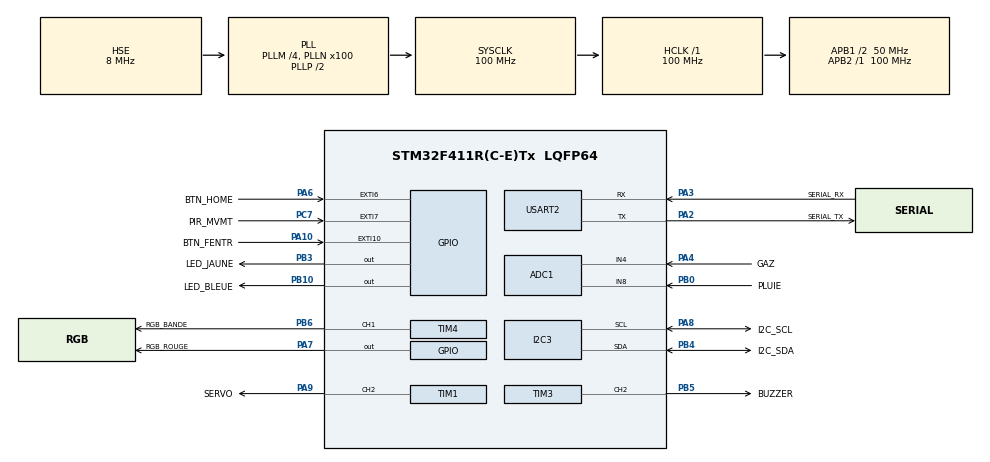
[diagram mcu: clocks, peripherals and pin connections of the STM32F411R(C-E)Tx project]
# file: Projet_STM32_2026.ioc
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ADC1.Channel-0\#ChannelRegularConversion=ADC_CHANNEL_4
ADC1.Channel-1\#ChannelRegularConversion=ADC_CHANNEL_8
ADC1.DMAContinuousRequests=ENABLE
ADC1.ExternalTrigConv=ADC_EXTERNALTRIGCONV_T2_TRGO
ADC1.NbrOfConversion=2
ADC1.NbrOfConversionFlag=1
ADC1.Rank-0\#ChannelRegularConversion=1
ADC1.Rank-1\#ChannelRegularConversion=2
ADC1.SamplingTime-0\#ChannelRegularConversion=ADC_SAMPLETIME_3CYCLES
ADC1.SamplingTime-1\#ChannelRegularConversion=ADC_SAMPLETIME_3CYCLES
ADC1.ScanConvMode=ENABLE
ADC1.master=1
Dma.ADC1.0.Direction=DMA_PERIPH_TO_MEMORY
Dma.ADC1.0.FIFOMode=DMA_FIFOMODE_DISABLE
Dma.ADC1.0.Instance=DMA2_Stream0
Dma.ADC1.0.MemDataAlignment=DMA_MDATAALIGN_HALFWORD
Dma.ADC1.0.MemInc=DMA_MINC_ENABLE
Dma.ADC1.0.Mode=DMA_CIRCULAR
Dma.ADC1.0.PeriphDataAlignment=DMA_PDATAALIGN_HALFWORD
Dma.ADC1.0.PeriphInc=DMA_PINC_DISABLE
Dma.ADC1.0.Priority=DMA_PRIORITY_LOW
Dma.Request0=ADC1
Dma.Request1=TIM4_CH1
Dma.TIM4_CH1.1.Direction=DMA_MEMORY_TO_PERIPH
Dma.TIM4_CH1.1.FIFOMode=DMA_FIFOMODE_DISABLE
Dma.TIM4_CH1.1.Instance=DMA1_Stream0
Dma.TIM4_CH1.1.MemDataAlignment=DMA_MDATAALIGN_WORD
Dma.TIM4_CH1.1.MemInc=DMA_MINC_ENABLE
Dma.TIM4_CH1.1.Mode=DMA_NORMAL
Dma.TIM4_CH1.1.PeriphDataAlignment=DMA_PDATAALIGN_WORD
Dma.TIM4_CH1.1.PeriphInc=DMA_PINC_DISABLE
Dma.TIM4_CH1.1.Priority=DMA_PRIORITY_LOW
Mcu.Family=STM32F4
Mcu.Name=STM32F411R(C-E)Tx
Mcu.Package=LQFP64
NVIC.ADC_IRQn=true\:0\:0\:false\:false\:true\:true\:true\:true
NVIC.DMA1_Stream0_IRQn=true\:0\:0\:false\:false\:true\:false\:true\:true
NVIC.DMA2_Stream0_IRQn=true\:0\:0\:false\:false\:true\:false\:true\:true
NVIC.EXTI15_10_IRQn=true\:0\:0\:false\:false\:true\:true\:true\:true
NVIC.EXTI9_5_IRQn=true\:0\:0\:false\:false\:true\:true\:true\:true
NVIC.PriorityGroup=NVIC_PRIORITYGROUP_4
NVIC.TIM2_IRQn=true\:0\:0\:false\:false\:true\:true\:true\:true
NVIC.TIM5_IRQn=true\:0\:0\:false\:false\:true\:true\:true\:true
PA10.GPIO_Label=BTN_FENTR
PA10.GPIO_ModeDefaultEXTI=GPIO_MODE_IT_FALLING
PA10.GPIO_PuPd=GPIO_PULLUP
PA10.Signal=GPXTI10
PA13.Mode=Serial_Wire
PA13.Signal=SYS_JTMS-SWDIO
PA14.Mode=Serial_Wire
PA14.Signal=SYS_JTCK-SWCLK
PA2.GPIO_Label=SERIAL_TX
PA2.Mode=Asynchronous
PA2.Signal=USART2_TX
PA3.GPIO_Label=SERIAL_RX
PA3.Mode=Asynchronous
PA3.Signal=USART2_RX
PA4.GPIO_Label=GAZ
PA4.Signal=ADCx_IN4
PA6.GPIO_Label=BTN_HOME
PA6.GPIO_ModeDefaultEXTI=GPIO_MODE_IT_FALLING
PA6.GPIO_PuPd=GPIO_PULLUP
PA6.Signal=GPXTI6
PA7.GPIO_Label=RGB_ROUGE
PA7.GPIO_PuPd=GPIO_NOPULL
PA7.Signal=GPIO_Output
PA8.GPIO_Label=I2C_SCL
PA8.Mode=I2C
PA8.Signal=I2C3_SCL
PA9.GPIO_Label=SERVO
PA9.Signal=S_TIM1_CH2
PB0.GPIO_Label=PLUIE
PB0.Signal=ADCx_IN8
PB10.GPIO_Label=LED_BLEUE
PB10.Signal=GPIO_Output
PB3.GPIO_Label=LED_JAUNE
PB3.GPIO_PuPd=GPIO_NOPULL
PB3.Signal=GPIO_Output
PB4.GPIO_Label=I2C_SDA
PB4.Mode=I2C
PB4.Signal=I2C3_SDA
PB5.GPIO_Label=BUZZER
PB5.Signal=S_TIM3_CH2
PB6.GPIO_Label=RGB_BANDE
PB6.Signal=S_TIM4_CH1
PC7.GPIO_Label=PIR_MVMT
PC7.GPIO_ModeDefaultEXTI=GPIO_MODE_IT_RISING
PC7.GPIO_PuPd=GPIO_PULLDOWN
PC7.Signal=GPXTI7
PH0\ -\ OSC_IN.Mode=HSE-External-Oscillator
PH0\ -\ OSC_IN.Signal=RCC_OSC_IN
PH1\ -\ OSC_OUT.Mode=HSE-External-Oscillator
PH1\ -\ OSC_OUT.Signal=RCC_OSC_OUT
ProjectManager.HeapSize=0x200
ProjectManager.StackSize=0x400
ProjectManager.TargetToolchain=STM32CubeIDE
RCC.48MHZClocksFreq_Value=50000000
RCC.AHBFreq_Value=100000000
RCC.APB1CLKDivider=RCC_HCLK_DIV2
RCC.APB1Freq_Value=50000000
RCC.APB1TimFreq_Value=100000000
RCC.APB2Freq_Value=100000000
RCC.APB2TimFreq_Value=100000000
RCC.CortexFreq_Value=100000000
RCC.HCLKFreq_Value=100000000
RCC.HSE_VALUE=8000000
RCC.HSI_VALUE=16000000
RCC.LSE_VALUE=32768
RCC.PLLM=4
RCC.PLLN=100
RCC.PLLSourceVirtual=RCC_PLLSOURCE_HSE
RCC.SYSCLKFreq_VALUE=100000000
RCC.SYSCLKSource=RCC_SYSCLKSOURCE_PLLCLK
RCC.VCOOutputFreq_Value=200000000
SH.ADCx_IN4.0=ADC1_IN4,IN4
SH.ADCx_IN8.0=ADC1_IN8,IN8
SH.S_TIM1_CH2.0=TIM1_CH2,PWM Generation2 CH2
SH.S_TIM3_CH2.0=TIM3_CH2,PWM Generation2 CH2
SH.S_TIM4_CH1.0=TIM4_CH1,PWM Generation1 CH1
TIM1.Channel-PWM\ Generation2\ CH2=TIM_CHANNEL_2
TIM1.Period=50000-1
TIM1.Prescaler=40-1
TIM1.Pulse-PWM\ Generation2\ CH2=3750
TIM2.Period=20000-1
TIM2.Prescaler=10000-1
TIM2.TIM_MasterOutputTrigger=TIM_TRGO_UPDATE
TIM3.Channel-PWM\ Generation2\ CH2=TIM_CHANNEL_2
TIM3.OCMode_PWM-PWM\ Generation2\ CH2=TIM_OCMODE_PWM1
TIM3.Period=56818-1
TIM3.Prescaler=4-1
TIM3.Pulse-PWM\ Generation2\ CH2=28409
TIM4.Channel-PWM\ Generation1\ CH1=TIM_CHANNEL_1
TIM4.Period=125-1
TIM5.Period=500-1
TIM5.Prescaler=10000-1
USART2.VirtualMode=VM_ASYNC
VP_TIM1_VS_ClockSourceINT.Mode=Internal
VP_TIM2_VS_ClockSourceINT.Mode=Internal
VP_TIM3_VS_ClockSourceINT.Mode=Internal
VP_TIM4_VS_ClockSourceINT.Mode=Internal
VP_TIM5_VS_ClockSourceINT.Mode=Internal
board=custom

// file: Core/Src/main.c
/* USER CODE BEGIN Header */
/**
  ******************************************************************************
  * @file           : main.c
  * @brief          : Main program body
  ******************************************************************************
  * @attention
  *
  * Copyright (c) 2026 STMicroelectronics.
  * All rights reserved.
  *
  * This software is licensed under terms that can be found in the LICENSE file
  * in the root directory of this software component.
  * If no LICENSE file comes with this software, it is provided AS-IS.
  *
  ******************************************************************************
  */
/* USER CODE END Header */
#include "main.h"
#include "adc.h"
#include "dma.h"
#include "i2c.h"
#include "tim.h"
#include "usart.h"
#include "gpio.h"

/* USER CODE BEGIN Includes */
#include <stdio.h>
#include "stdbool.h"
#include "tmp102.h"
#include "i2c-lcd.h"
#include "bande-led.h"
/* USER CODE END Includes */

/* USER CODE BEGIN PTD */

/**
 * @brief Structure d'encapsulation pour la gestion unifiée d'une LED matérielle.
 *        // cf rapport : Architecture globale – 6. Structure pour les LEDs
 */
typedef struct {
    GPIO_TypeDef *port;   /**< Pointeur vers le port GPIO (ex: GPIOA, GPIOB) */
    uint16_t pin;         /**< Numéro de broche GPIO (ex: GPIO_PIN_10) */
    bool state;           /**< État logique souhaité (true: allumée, false: éteinte) */
} LED_t;

/**
 * @brief Modes de fonctionnement et de surveillance globale de la maison.
 *        //  cf rapport : Scénario 2 – 3. Machine à états HOME / AWAY
 */
typedef enum {
  HOME,                   /**< Mode Présent : alarme intrusion désactivée, contrôle manuel fenêtre actif */
  AWAY                    /**< Mode Absent  : surveillance intrusion armée, fenêtre fermée et verrouillée */
} maison_mode_t;

/**
 * @brief États discrets de la fenêtre motorisée par servomoteur.
 *        // cf rapport : Scénario 5 – 2.1. États de la fenêtre
 */
typedef enum {
  INIT,                   /**< État initial au démarrage avant positionnement */
  FERMEE,                 /**< Fenêtre fermée (servomoteur à 0°) */
  OUVERTE                 /**< Fenêtre ouverte (servomoteur à 120°) */
} fenetre_t;

/**
 * @brief Plages de confort thermique pour la régulation automatique de la fenêtre.
 *        // cf rapport : Scénario 6 – 12.1. Seuils et états de température
 */
typedef enum {
  FROID,                  /**< Température <= 24°C : force la fermeture de la fenêtre */
  CHAUD,                  /**< Température >= 26°C : déclenche l'aération de la fenêtre */
  TEMPEREE                /**< Zone de confort (24°C - 26°C) formant une hystérésis naturelle */
} temperature_t;

/* USER CODE END PTD */

/* USER CODE BEGIN PD */

// ==============================================================================
// Brochage matériel Arduino Header (NUCLEO-F411RE)
// cf rapport : Architecture globale – 1.2. Tableau de brochage final
// ==============================================================================
//  BTN_FENTR | D2  | PA_10 | EXTI 10 - Falling Edge | PULLUP   | 3V3
//  LED_JAUNE | D3  | PB_3  | GPIO OUTPUT            | NO       | 3V3 (Shield)
//  BUZZER    | D4  | PB_5  | TIMER 3 - CHANNEL 2    | NO       | 3V3 (Passif PWM)
//  I2C_SDA   | D5  | PB_4  | I2C3 - SDA             | NO       | LCD (5V) + TMP102 (3V3)
//  LED_BLEUE | D6  | PB_10 | GPIO OUTPUT            | NO       | 3V3 (Cycle capteurs)
//  I2C_SCL   | D7  | PA_8  | I2C3 - SCL             | NO       | LCD (5V) + TMP102 (3V3)
//  SERVO     | D8  | PA_9  | TIMER 1 - CHANNEL 2    | NO       | 5V (PWM 50 Hz)
//  PIR_MVMT  | D9  | PC_7  | EXTI 7 - Rising Edge   | PULLDOWN | 3V3 (Détecteur mouvement)
//  RGB_BANDE | D10 | PB_6  | TIMER 4 - CHANNEL 1    | NO       | 3V3 (WS2812B PWM + DMA)
//  RGB_ROUGE | D11 | PA_7  | GPIO OUTPUT            | NO       | 3V3 (Alarme gaz Shield)
//  BTN_HOME  | D12 | PA_6  | EXTI 6 - Falling Edge  | PULLUP   | 3V3 (Bouton HOME)
//  GAZ       | A2  | PA_4  | ADC 1 - CHANNEL 4      | NO       | 5V (Capteur MQ-2)
//  PLUIE     | A3  | PB_0  | ADC 1 - CHANNEL 8      | NO       | 5V (Capteur résistif)

// ==============================================================================
// Abstraction matérielle (évite le hardcoding des handles HAL)
// cf rapport : Architecture globale – 5.1. Defines matériels
// ==============================================================================
#define ADC_CAPTEURS    (&hadc1)    /**< Instance ADC1 pour mesures gaz et pluie */
#define BUS_I2C         (&hi2c3)    /**< Bus I2C3 partagé (TMP102 + Afficheur LCD) */
#define TIMER_CAPTEURS  (&htim2)    /**< TIM2 : base temporelle échantillonnage (2 s) */
#define TIMER_DEBOUNCE  (&htim5)    /**< TIM5 : base temporelle anti-rebond & alarmes (50 ms) */
#define TIMER_SERVO     (&htim1)    /**< TIM1 : génération PWM 50 Hz pour servomoteur */
#define CANAL_SERVO     TIM_CHANNEL_2 /**< Canal 2 de TIM1 (broche PA9 / D8) */
#define TIMER_BUZZER    (&htim3)    /**< TIM3 : génération PWM audio pour buzzer passif */
#define CANAL_BUZZER    TIM_CHANNEL_2 /**< Canal 2 de TIM3 (broche PB5 / D4) */
#define TIMER_BANDE_LED (&htim4)    /**< TIM4 : génération PWM 800 kHz DMA WS2812B */
#define CANAL_BANDE_LED TIM_CHANNEL_1 /**< Canal 1 de TIM4 (broche PB6 / D10) */

// ==============================================================================
// Seuils de décision et configuration ADC
// cf rapport : Scénario 3 – 3.2. Seuil de détection (Gaz),
//              Scénario 5 – 4.6. Tests du capteur de pluie et seuil (Pluie),
//              Scénario 6 – 12.1. Seuils et états de température (Température)
// ==============================================================================
#define SEUIL_GAZ         2500      /**< Seuil détection gaz MQ-2 (0-4095) // cf rapport : Scénario 3 – 3.2. Seuil de détection */
#define SEUIL_PLUIE       4000      /**< Seuil détection eau/pluie (0-4095) // cf rapport : Scénario 5 – 4.6. Tests du capteur de pluie et seuil */
#define SEUIL_CHALEUR     26        /**< Seuil haut de température en °C // cf rapport : Scénario 6 – 12.1. Seuils et états de température */
#define SEUIL_FROID       24        /**< Seuil bas de température en °C // cf rapport : Scénario 6 – 12.1. Seuils et états de température */
#define NBR_CAPTEURS_ADC  2         /**< Nombre de canaux convertis en séquence Scan */
#define GAZ_ADC_RANK      0         /**< Index Rank 1 dans buffer DMA : Capteur MQ-2 */
#define PLUIE_ADC_RANK    1         /**< Index Rank 2 dans buffer DMA : Capteur pluie */

// ==============================================================================
// Fréquences d'échantillonnage et bases temporelles
// cf rapport : Scénario 1 – 1. Configuration du Timer (Timer 2),
//              Scénario 2 – 2.1. Prescaler du Timer 5 (Timer 5)
// ==============================================================================
#define FREQ_CYCLE_CAPTEURS   0.5   /**< Fréquence d'échantillonnage (0.5 Hz => Période = 2 s) */
#define FREQ_CYCLE_DEBOUNCE   20    /**< Fréquence de scrutation anti-rebond (20 Hz => 50 ms) */

// ==============================================================================
// Paramètres PWM Servomoteur (Timer 1)
// cf rapport : Scénario 5 – 1. Commande du servomoteur
// ==============================================================================
#define FREQ_TIMER_SERVO  2500000   /**< Fréquence de comptage TIM1 (2.5 MHz => 0.4 µs/tic) */
#define FREQ_CYCLE_SERVO  50        /**< Fréquence PWM servomoteur standard (50 Hz => 20 ms) */
#define SERVO_0_DEG_MS    0.5       /**< Largeur d'impulsion à 0° (0.5 ms => 1250 tics) */
#define SERVO_180_DEG_MS  2.5       /**< Largeur d'impulsion à 180° (2.5 ms => 6250 tics) */

// ==============================================================================
// Paramètres Audio et Alarmes (Timer 3 & Timer 5)
// cf rapport : Scénario 8 – Gestion globale des alarmes
// ==============================================================================
#define FREQ_TIMER_BUZZER             25000000 /**< Fréquence d'horloge TIM3 (25 MHz) */
#define FREQ_TIMER_BANDE_LED          100000000/**< Fréquence d'horloge TIM4 (100 MHz) */
#define FREQ_CYCLE_ALARME             FREQ_CYCLE_DEBOUNCE /**< Base de comptage alarme (20 Hz) */
#define FREQ_BLINK_ALARME_GAZ         10       /**< Fréquence clignotement alarme gaz (10 Hz) */
#define FREQ_BLINK_ALARME_INTRUSION   2        /**< Fréquence clignotement alarme intrusion (2 Hz) */
#define FREQ_BUZZER_ALARME_GAZ        440      /**< Fréquence note alarme gaz (La4 / 440 Hz) */
#define FREQ_BUZZER_ALARME_INTRUSION  384      /**< Fréquence note alarme intrusion (384 Hz) */

// ==============================================================================
// Tableau de bord NeoPixel WS2812B (Timer 4 + DMA)
// cf rapport : Scénario 9 – Bande de LED NeoPixel
// ==============================================================================
#define NB_LEDS_BANDE_RGB 4         /**< Nombre total de LEDs sur le bandeau */
#define LED_BAS_DROITE    0         /**< Index LED 0 : Alarme intrusion (orange) */
#define LED_HAUT_DROITE   1         /**< Index LED 1 : Alarme gaz (rouge) */
#define LED_HAUT_GAUCHE   2         /**< Index LED 2 : Témoin cycle capteurs (violet) */
#define LED_BAS_GAUCHE    3         /**< Index LED 3 : Indicateur température (Bleu/Vert/Orange) */
#define LUMINOSITE_BASE   10        /**< Luminosité réduite (échelle de 0-255) */

// --- Nuancier hexadécimal pour le tableau de bord ---
#define COULEUR_CAPTEURS         BL_HEXA_VIOLET /**< Violet : pulsation cycle capteurs */
#define COULEUR_ALARME_GAZ       BL_HEXA_ROUGE  /**< Rouge : alerte fuite de gaz */
#define COULEUR_ALARME_INTRUSION BL_HEXA_ORANGE /**< Orange : alerte détection intrusion */
#define COULEUR_TEMP_FROID       BL_HEXA_BLEU   /**< Bleu : ambiance froide (< 24°C) */
#define COULEUR_TEMP_TEMPERE     BL_HEXA_VERT   /**< Vert : confort tempéré (24°C - 26°C) */
#define COULEUR_TEMP_CHAUD       BL_HEXA_ORANGE /**< Orange : ambiance chaude (> 26°C) */
#define COULEUR_ETEINTE          BL_HEXA_NOIR   /**< Noir : LED éteinte */

// ==============================================================================
// Butées angulaires de la fenêtre
// cf rapport : Scénario 5 – 2. Gestion de la fenêtre
// ==============================================================================
#define ANGLE_SERVO_OUVERT  120     /**< Butée mécanique maximale d'ouverture (120°) */
#define ANGLE_SERVO_FERME   0       /**< Position de fermeture (0°) */

/* USER CODE END PD */

/* USER CODE BEGIN PV */
// ==============================================================================
// Instances et états des voyants LED physiques
// cf rapport : Architecture globale – 6. Structure pour les LEDs
// ==============================================================================
LED_t           led_capteurs                = {LED_BLEUE_GPIO_Port, LED_BLEUE_Pin, false};
LED_t           led_alarme_gaz              = {RGB_ROUGE_GPIO_Port, RGB_ROUGE_Pin, false};
LED_t           led_alarme_intrusion        = {LED_JAUNE_GPIO_Port, LED_JAUNE_Pin, false};
bool            buzzer                      = false; /**< État logique ON/OFF du buzzer passif */
fenetre_t       fenetre                     = OUVERTE; /**< État courant de la fenêtre (ici OUVERTE au démarrage) */

// ==============================================================================
// Signaux de contrôle et drapeaux anti-rebond (partagés avec EXTI Callback)
// cf rapport : Scénario 2 – 2. Gestion de l'anti-rebond & Scénario 5 – 3.1. Implémentation et anti-rebond
// ==============================================================================
volatile bool   debouncing_bouton_home      = false; /**< Verrou anti-rebond en cours (Bouton HOME) */
volatile bool   debouncing_bouton_fenetre   = false; /**< Verrou anti-rebond en cours (Bouton Fenêtre) */
bool            bouton_home_appuye          = false; /**< Impulsion validée d'appui sur bouton HOME */
bool            bouton_fenetre_appuye       = false; /**< Impulsion validée d'appui sur bouton Fenêtre */

// ==============================================================================
// Drapeaux d'interruptions périodiques et DMA (partagés avec ISR)
// cf rapport : Architecture globale – 3.1. Boucle principale et gestion des interruptions
// ==============================================================================
volatile bool   timer_debounce_flag         = false; /**< Tick périodique TIM5 (20 Hz / 50 ms) */
volatile bool   timer_capteurs_flag         = false; /**< Tick périodique TIM2 (0.5 Hz / 2 s) */
volatile bool   fin_mesure_ADC_flag         = false; /**< Notification fin de transfert circulaire DMA ADC */
int             blink_counter_alarm         = 0;     /**< Compteur de tics pour modulation des alarmes */

// ==============================================================================
// Variables d'état métier et sécurité
// cf rapport : Scénario 2 – 3.2. Gestion des modes, Scénario 2 – 4. Capteur PIR et alarme intrusion,
//              Scénario 3 – 4. Alarme gaz, Scénario 5 – 4. Détection de pluie avec ADC DMA multi-canaux,
//              Scénario 6 – 12.1. Seuils et états de température
// ==============================================================================
maison_mode_t   mode                        = HOME;  /**< Mode courant de la maison (HOME / AWAY) */
volatile bool   presence_detectee           = false; /**< Détection brute PIR (EXTI 7) */
bool            pluie_detectee              = false; /**< Alerte pluie active */
bool            alarme_intrusion            = false; /**< Alarme intrusion armée et sonnante */
bool            alarme_gaz                  = false; /**< Alarme fuite de gaz active */

temperature_t   temperature                 = TEMPEREE; /**< Tranche de confort thermique */
float           temperature_valeur          = 0.0;      /**< Dernière température mesurée en °C */
int             pluie_valeur                = 0;        /**< Valeur brute ADC du capteur de pluie */
int             gaz_valeur                  = 0;        /**< Valeur brute ADC du capteur MQ-2 */

// ==============================================================================
// Buffers matériels et descripteurs de périphériques
// cf rapport : Scénario 5 – 4.3. Configuration DMA, Scénario 6 – 4. Structure de la bibliothèque,
//              Scénario 9 – 4. Structure de la bibliothèque
// ==============================================================================
volatile uint16_t adc_valeurs[NBR_CAPTEURS_ADC]; /**< Buffer de destination du DMA circulaire ADC1 */
TMP102_t        thermometre;                     /**< Contexte et configuration du capteur TMP102 */
BandeLED_t      bande_led;                       /**< Descripteur de la bande de 4 LEDs WS2812B */

/* USER CODE END PV */

void SystemClock_Config(void);
/* USER CODE BEGIN PFP */
void afficher_capteurs_ecran(void);
void afficher_mode_ecran(void);
void initialiser_ecran(void);
void initialiser_thermometre(void);
void initialiser_bande_led(void);
void commande_bande_led(void);
void angle_servo(int angle);
void commande_fenetre(void);
void commande_led(void);
void commande_buzzer(void);
void frequence_buzzer(int frequence);
void evaluer_gaz(void);
void evaluer_pluie(void);
void evaluer_temperature(void);
void debounce_filter(void);
void update_cycle_alarmes_leds(void);
void update_cycle_alarmes_buzzer(void);
void update_cycle_alarmes(void);
/* USER CODE END PFP */

/* USER CODE BEGIN 0 */

/**
 * @brief  Met à jour l'affichage des valeurs des capteurs sur l'écran LCD 16x2.
 *         Formate et affiche la température (°C) sur la seconde moitié de la première ligne,
 *         et les valeurs brutes ADC de pluie (Hu) et de gaz (Ga) sur la deuxième ligne.
 *         // cf rapport :   Scénario 7 – 3.3. Valeurs capteurs
 * @param  None
 * @return None
 */
void afficher_capteurs_ecran()
{
	// Tableaux de 8 caractères pour la première demi-ligne, et de 16 charactères pour la 2e ligne
	// +1 pour le caractère de fin \0
    char ligne1[8+1];
    char ligne2[16+1];

    // Ligne 1 (2nde moitié) : formatage de la température sur 5 caractères avec le symbole degré
    // Le code hexadécimal \xDF correspond au symbole '°' dans la table CGROM du contrôleur LCD
    // cf rapport : Scénario 7 – 3.3. Valeurs capteurs
    snprintf(ligne1, sizeof(ligne1), " %5s\xDF" "C",
             TMP102_temperature_to_string(temperature_valeur, 2));

    // Ligne 2 : formatage à largeur fixe (%4d) pour écraser entièrement l'ancienne mesure
    // et éviter les reliquats visuels d'affichage sur les capteurs de pluie et de gaz
    // cf rapport : Scénario 7 – 3.3. Valeurs capteurs
    snprintf(ligne2, sizeof(ligne2), "Hu %4d  Ga %4d",
             pluie_valeur,
             gaz_valeur);

    // Positionnement du curseur en colonne 8 de la ligne 0 pour préserver le mode HOME/AWAY (colonnes 0-7)
    lcd_put_cur(0, 8);
    lcd_send_string(ligne1);

    // Positionnement du curseur au début de la ligne 1 pour l'affichage complet des mesures analogiques
    lcd_put_cur(1, 0);
    lcd_send_string(ligne2);
}

/**
 * @brief  Affiche le mode de présence de la maison (HOME ou AWAY) sur le LCD.
 *         Écrit sur les 4 premières colonnes de la première ligne de l'afficheur.
 *          // cf rapport : Scénario 7 – 3.2. HOME / AWAY
 * @param  None
 * @return None
 */
void afficher_mode_ecran()
{
  // Tableau de 8 caractères (demi ligne), +1 pour le caractère de fin \0
  char ligne_mode[8+1];
  // Formatage à largeur fixe (%4s) pour occuper exactement 4 caractères (HOME ou AWAY)
  // sans déborder sur l'affichage de la température situé en colonne 8
  // cf rapport : Scénario 7 – 3.2. HOME / AWAY
  snprintf(ligne_mode, sizeof(ligne_mode), "%4s",
           (mode == HOME) ? "HOME" : "AWAY");

  // Positionnement au début de la ligne 0
  lcd_put_cur(0, 0);
  lcd_send_string(ligne_mode);
}

/**
 * @brief  Initialise le module d'affichage LCD 16x2 sur le bus I2C.
 *         Configure le contrôleur LCD HD44780 (via extenseur PCF8574), affiche le mode
 *         initial et un message d'accueil temporaire sur la ligne 2.
 *         // cf rapport : Scénario 7 – 2. Intégration de la bibliothèque LCD I²C & Scénario 7 – 3.1. Initialisation
 * @param  None
 * @return None
 */
void initialiser_ecran()
{
    // Initialisation matérielle du contrôleur LCD avec le bus I2C3
    // cf rapport : Scénario 7 – 2.1. Modification de l'initialisation
    lcd_init(BUS_I2C);

    // Affichage initial du mode de la maison (HOME par défaut)
    afficher_mode_ecran();

    // Message de bienvenue temporaire (écrasé au premier cycle capteurs après 2 s)
    // cf rapport : Scénario 7 – 3.1. Initialisation
    lcd_put_cur(1, 0);
    lcd_send_string("Hello Abir (^w^)");
}

/**
 * @brief  Initialise et configure le capteur de température I2C TMP102.
 *         Charge la configuration par défaut puis active le mode Shutdown basse consommation
 *         pour opérer en mode One-Shot cadencé par le timer d'échantillonnage.
 *         // cf rapport : Scénario 6 – 6. Initialisation, Scénario 6 – 9. Mesure One-Shot en mode Shutdown, Scénario 6 – 10. Utilisation de la bibliothèque dans le code
 * @param  None
 * @return None
 */
void initialiser_thermometre()
{
    // Chargement des valeurs nominales par défaut dans la structure
    // cf rapport : Scénario 6 – 6.2. Valeurs par défaut
    TMP102_init_default(&thermometre);

    // Configuration des paramètres matériels et applicatifs
    thermometre.busI2C                = BUS_I2C;             // Bus I2C3
    thermometre.address               = TMP102_I2C_ADDR_GND; // Adresse 0x48 (ADDR0 relié à GND)
    thermometre.config.Mode           = TMP102_MODE_SHUTDOWN;// Mode veille (<0.15 µA) avec One-Shot
    thermometre.config.ExtendedMode   = TMP102_EXTENDED_OFF; // Résolution standard 12 bits

    // Transmission de la configuration vers les registres du capteur physique via I2C
    // cf rapport : Scénario 6 – 5.1. Application du registre de configuration
    if (TMP102_apply_registers(&thermometre)) {
        printf("Capteur TMP102 configuré\r\n");
    } else {
        printf("Erreur d'initialisation du capteur TMP102\r\n");
    }
}

/**
 * @brief  Initialise le pilote du ruban de 4 LEDs adressables RGB (WS2812B NeoPixel).
 *         Configure le timer PWM et DMA associé (TIM4 CH1, 800 kHz), règle la luminosité de base
 *         et précharge les teintes de repos pour le tableau de bord.
 *         // cf rapport : Scénario 9 – 3. Branchement et configuration CubeMX & Scénario 9 – 8. Utilisation dans le code principal
 * @param  None
 * @return None
 */
void initialiser_bande_led()
{
  // Initialisation du descripteur : TIM4 CH1 cadencé à 100 MHz, protocole one-wire 800 kHz
  // cf rapport : Scénario 9 – 5. Initialisation
  BandeLED_Init(&bande_led, TIMER_BANDE_LED, CANAL_BANDE_LED, FREQ_TIMER_BANDE_LED, NB_LEDS_BANDE_RGB);

  // Luminosité réduite (10/255) sur chaque LED pour limiter le courant et éviter l'éblouissement
  // cf rapport : Scénario 9 – 6.4. Application de la luminosité
  for (int i = 0; i < NB_LEDS_BANDE_RGB; i++) {
      BandeLED_set_led_luminosity(&bande_led, i, LUMINOSITE_BASE);
  }

  // Affectation des couleurs fonctionnelles fixes en mémoire
  // LED 2 (Haut Gauche) : Témoin capteurs (Violet)
  // LED 1 (Haut Droite) : Alarme gaz (Rouge)
  // LED 0 (Bas Droite)  : Alarme intrusion (Orange)
  BandeLED_set_led_hexa(&bande_led, LED_HAUT_GAUCHE, COULEUR_CAPTEURS);
  BandeLED_set_led_hexa(&bande_led, LED_HAUT_DROITE, COULEUR_ALARME_GAZ);
  BandeLED_set_led_hexa(&bande_led, LED_BAS_DROITE, COULEUR_ALARME_INTRUSION);

  // Extinction initiale de toutes les LEDs pour un démarrage propre
  BandeLED_set_led_state(&bande_led, LED_HAUT_GAUCHE, false);
  BandeLED_set_led_state(&bande_led, LED_HAUT_DROITE, false);
  BandeLED_set_led_state(&bande_led, LED_BAS_DROITE, false);
  BandeLED_set_led_state(&bande_led, LED_BAS_GAUCHE, false);

  // Émission de la première trame via DMA pour actualiser le ruban physique
  BandeLED_show(&bande_led);
}

/**
 * @brief  Met à jour l'affichage dynamique du tableau de bord sur les 4 NeoPixels.
 *         Reflète l'état des cycles capteurs, des alarmes gaz et intrusion, ainsi que
 *         la couleur représentative de la température, puis déclenche le transfert DMA.
 *          // cf rapport : Scénario 9 – 8.4. Mise à jour périodique
 * @param  None
 * @return None
 */
void commande_bande_led()
{
    // LED Haut Gauche : pulsation de cycle capteurs, synchronisée sur la LED bleue physique
    BandeLED_set_led_state(&bande_led, LED_HAUT_GAUCHE, led_capteurs.state);

    // LED Haut Droite : alerte fuite de gaz, synchronisée sur la LED rouge d'alarme
    BandeLED_set_led_state(&bande_led, LED_HAUT_DROITE, led_alarme_gaz.state);

    // LED Bas Droite : alerte intrusion, synchronisée sur la LED jaune d'alarme
    BandeLED_set_led_state(&bande_led, LED_BAS_DROITE, led_alarme_intrusion.state);

    // LED Bas Gauche : indicateur chromatique de la tranche de température
    // Bleu = Froid (<= 24°C), Vert = Tempéré (24-26°C), Orange = Chaud (>= 26°C)
    // cf rapport : Scénario 9 – 8.4. Mise à jour périodique & Scénario 6 – 12.1. Seuils et états de température
    switch (temperature) {
        case FROID:
            BandeLED_set_led_state(&bande_led, LED_BAS_GAUCHE, true);
            BandeLED_set_led_hexa(&bande_led, LED_BAS_GAUCHE, COULEUR_TEMP_FROID);
            break;
        case TEMPEREE:
            BandeLED_set_led_state(&bande_led, LED_BAS_GAUCHE, true);
            BandeLED_set_led_hexa(&bande_led, LED_BAS_GAUCHE, COULEUR_TEMP_TEMPERE);
            break;
        case CHAUD:
            BandeLED_set_led_state(&bande_led, LED_BAS_GAUCHE, true);
            BandeLED_set_led_hexa(&bande_led, LED_BAS_GAUCHE, COULEUR_TEMP_CHAUD);
            break;
        default:
            BandeLED_set_led_state(&bande_led, LED_BAS_GAUCHE, false);
            break;
    }

    // Mise à jour matérielle des NeoPixels
    // cf rapport : Scénario 9 – 6.8. Lancement de l'envoi par DMA
    BandeLED_show(&bande_led);
}

/**
 * @brief  Positionne le servomoteur de la fenêtre à l'angle angulaire spécifié (0° à 180°).
 *         Convertit l'angle cible en durée d'impulsion PWM (0.5 ms à 2.5 ms),
 *         calcule le nombre de tics d'horloge du Timer 1 et met à jour le registre de comparaison CCR.
 *         //  cf rapport : Scénario 5 – 1. Commande du servomoteur
 * @param  angle Angle cible en degrés compris entre 0 et 180 (ex: 0° fermé, 120° ouvert).
 * @return None
 */
void angle_servo(int angle)
{
  // Calcul mathématique de la largeur d'impulsion :
  // Impulsion (tics) = [ [(angle / 180.0) * (T_180 - T_0)] + T_0 ] * Freq_timer_servo
  // Résolution angulaire ≈ 27.8 tics/degré
  // cf rapport : Scénario 5 – 1.4. Calcul de la résolution angulaire
	int pulse_tics =
  (
    (
      (angle / 180.0)
      *
      (SERVO_180_DEG_MS - SERVO_0_DEG_MS) / 1000.0
    )
    +
    (SERVO_0_DEG_MS / 1000.0)
  )
  * FREQ_TIMER_SERVO;

  // Mise à jour du registre de comparaison CCR (TIM1 Channel 2, broche PA9)
  // cf rapport : Scénario 5 – 1.5. Appliquer un angle au servomoteur
	__HAL_TIM_SET_COMPARE(TIMER_SERVO, CANAL_SERVO, pulse_tics);
}

/**
 * @brief  Gère l'actionnement mécanique de la fenêtre via le servomoteur.
 *         N'applique la consigne d'angle que lors d'un changement d'état effectif
 *         (OUVERTE -> 120°, FERMEE -> 0°) pour éviter les écritures redondantes.
 *          // cf rapport : Scénario 5 – 2. Gestion de la fenêtre
 * @param  None
 * @return None
 */
void commande_fenetre()
{
  // Variable statique pour mémoriser l'état précédent entre deux itérations
  // Initialisée à INIT pour rendre possible la première transition depuis un état indéfini.
  // cf rapport : Scénario 5 – 2.2. Application de l'état de la fenêtre
  static fenetre_t etat_precedent = INIT;

  if (fenetre != etat_precedent) {
    switch(fenetre) {
      case OUVERTE :
        // Angle d'ouverture fixé empiriquement à 120° (au-delà, risque de casse mécanique contre le mur)
        // cf rapport : Scénario 5 – 2.1. États de la fenêtre
        angle_servo(ANGLE_SERVO_OUVERT);
        break;
      case FERMEE :
        // Angle de fermeture étanche à 0° (position initiale lors du vissage du servomoteur)
        angle_servo(ANGLE_SERVO_FERME);
        break;
      case INIT :
        break;
    }
    // Mémorisation du nouvel état validé
    etat_precedent = fenetre;
  }
}

/**
 * @brief  Applique l'état logique mémorisé des structures LED_t aux sorties GPIO physiques.
 *          // cf rapport : Architecture globale – 6. Structure pour les LEDs
 * @param  None
 * @return None
 */
void commande_led()
{
  // LED témoin de cycle capteurs (LED bleue du shield, PB10)
  if (led_capteurs.state) {
    HAL_GPIO_WritePin(led_capteurs.port, led_capteurs.pin, GPIO_PIN_SET);
  } else {
    HAL_GPIO_WritePin(led_capteurs.port, led_capteurs.pin, GPIO_PIN_RESET);
  }

  // LED témoin d'alarme gaz (composante rouge de la LED RGB du shield, PA7)
  if (led_alarme_gaz.state) {
    HAL_GPIO_WritePin(led_alarme_gaz.port, led_alarme_gaz.pin, GPIO_PIN_SET);
  } else {
    HAL_GPIO_WritePin(led_alarme_gaz.port, led_alarme_gaz.pin, GPIO_PIN_RESET);
  }

  // LED témoin d'alarme intrusion (LED jaune, PB3)
  if (led_alarme_intrusion.state) {
    HAL_GPIO_WritePin(led_alarme_intrusion.port, led_alarme_intrusion.pin, GPIO_PIN_SET);
  } else {
    HAL_GPIO_WritePin(led_alarme_intrusion.port, led_alarme_intrusion.pin, GPIO_PIN_RESET);
  }
}

/**
 * @brief  Pilote l'activation ou l'extinction du signal PWM alimentant le buzzer passif.
 *         Démarre ou arrête la génération PWM sur le Canal 2 du Timer 3 selon le drapeau 'buzzer'.
 *         //  cf rapport : Scénario 8 – 2. Gestion du buzzer avec fréquences distinctes
 * @param  None
 * @return None
 */
void commande_buzzer()
{
	if (buzzer) {
    // Démarrage de la génération PWM matérielle (TIM3 Channel 2, broche PB5)
	  HAL_TIM_PWM_Start(TIMER_BUZZER, CANAL_BUZZER);
	} else {
    // Arrêt complet du signal pour couper l'émission acoustique
	  HAL_TIM_PWM_Stop(TIMER_BUZZER, CANAL_BUZZER);
	}
}

/**
 * @brief  Configure dynamiquement la fréquence sonore émise par le buzzer passif.
 *         Calcule et programme en temps réel la période de comptage (registre ARR)
 *         et la durée à l'état haut (registre CCR) pour obtenir un rapport cyclique de 50%.
 *         // cf rapport : Scénario 8 – 2.1. Configuration du Timer PWM & Scénario 8 – 2.3. Fréquences distinctes pour chaque alarme
 * @param  frequence Fréquence acoustique cible en Hertz (ex: 440 Hz pour gaz, 384 Hz pour intrusion).
 * @return None
 */
void frequence_buzzer(int frequence)
{
  // Calcul du nombre de tics pour la période (registre ARR) :
  // Horloge du Timer 3 cadencée à 25 MHz (PSC = 4 - 1 depuis horloge source 100 MHz)
  // ARR = (FREQ_TIMER_BUZZER / frequence) - 1
  // Exemple Gaz       (440 Hz) : 25 000 000 / 440 ≈ 56818 tics -1
  // Exemple Intrusion (384 Hz) : 25 000 000 / 384 ≈ 65104 tics -1
  // cf rapport : Scénario 8 – 2.1. Configuration du Timer PWM
	int periode_tics = (double)FREQ_TIMER_BUZZER / frequence - 1;

  // Calcul du temps haut pour un rapport cyclique de 50% (onde carrée acoustique optimale) :
  // pulse_tics = periode_tics / 2
  // CCR        = ARR + 1      / 2
	int pulse_tics   = (periode_tics + 1) / 2;

  // Rechargement immédiat des registres matériels du Timer 3
	__HAL_TIM_SET_AUTORELOAD(TIMER_BUZZER, periode_tics);
	__HAL_TIM_SET_COMPARE(TIMER_BUZZER, CANAL_BUZZER, pulse_tics);
}

/**
 * @brief  Évalue la concentration de gaz mesurée par le capteur analogique MQ-2.
 *         Lit la valeur convertie dans le buffer DMA (Canal ADC 4, Rank 1),
 *         compare la mesure au seuil critique (SEUIL_GAZ) pour armer l'alarme fuite de gaz,
 *         et affiche la valeur sur le moniteur série USART2.
 *         // cf rapport : Scénario 3 – 3.2. Seuil de détection, Scénario 3 – 4. Alarme gaz, Scénario 5 – 4. Détection de pluie avec ADC DMA multi-canaux
 * @param  None
 * @return None
 */
void evaluer_gaz()
{
  // Lecture de la conversion ADC Rank 1 directement en mémoire via le buffer DMA
  // cf rapport : Scénario 3 – 3.2. Seuil de détection & Scénario 5 – 4.5. Lecture et évaluation des capteurs
  gaz_valeur = adc_valeurs[GAZ_ADC_RANK];

  // Évaluation du dépassement du seuil de détection de gaz
  if (gaz_valeur >= SEUIL_GAZ) {
    printf("Gaz detecte !\r\n");
    alarme_gaz = true; // Déclenchement de l'alarme (prioritaire et indépendante du mode HOME/AWAY)
  } else {
    alarme_gaz = false;
  }

  // Affichage périodique sur le moniteur série UART
  // cf rapport : Scénario 4 – 4.1. Mesures périodiques (toutes les 2 s)
  printf("                                      GAZ   = %d\r\n", gaz_valeur);
}

/**
 * @brief  Évalue la présence d'eau/pluie mesurée par le capteur de pluie.
 *         Lit la conversion ADC stockée dans le buffer DMA (Canal ADC 8, Rank 2),
 *         la compare au seuil de pluie (SEUIL_PLUIE) pour commander la fermeture de sécurité
 *         de la fenêtre, et transmet la mesure sur l'UART.
 *         // cf rapport : Scénario 5 – 4. Détection de pluie avec ADC DMA multi-canaux & Scénario 5 – 5. Logique de décision de la fenêtre
 * @param  None
 * @return None
 */
void evaluer_pluie()
{
  // Lecture de la conversion ADC Rank 2 issue du transfert DMA
  // Surface mouillée : monte immédiatement vers 4095
  // cf rapport : Scénario 5 – 4.6. Tests du capteur de pluie et seuil
  pluie_valeur = adc_valeurs[PLUIE_ADC_RANK];

  // Seuil fixé à 4000 pour éviter tout faux positif dû à l'humidité résiduelle
  if (pluie_valeur >= SEUIL_PLUIE) {
    printf("Pluie detecte !\r\n");
    pluie_detectee = true; // Détection de pluie active
  } else {
    pluie_detectee = false;
  }

  // Affichage périodique sur le moniteur série UART
  printf("                                      PLUIE = %d\r\n", pluie_valeur);
}

/**
 * @brief  Acquiert la température via le capteur I2C TMP102 et gère la machine à états thermique.
 *         Convertit le registre brut en degrés Celsius, applique une hystérésis (FROID <= 24°C,
 *         TEMPEREE, CHAUD >= 26°C) et déclenche l'ouverture ou la fermeture automatique de la fenêtre
 *          (si l'on n'est pas bloqué par le mode AWAY ou par la pluie).
  *         // cf rapport : Scénario 6 – 10. Utilisation de la bibliothèque dans le code & Scénario 6 – 12. Gestion automatique de la fenêtre par la température
 * @param  None
 * @return None
 */
void evaluer_temperature()
{
  float temperature_local;

  // Lecture du registre de température du capteur TMP102 (communication I2C, en mode One-Shot)
  // cf rapport : Scénario 6 – 7. Lecture du registre de température & Scénario 6 – 8.1. Registre brut → température en °C
  if (TMP102_get_temperature(&thermometre, &temperature_local))
  {
    temperature_valeur = temperature_local;
    // Formatage personnalisé du float avec précision 2 décimales sans bibliothèque math lourde
    // cf rapport : Scénario 6 – 8.3. Affichage de la température de type float
    printf("                                      TEMP  = %s°C\r\n", TMP102_temperature_to_string(temperature_valeur, 2));
  }
  else
  {
    printf("                                      TEMP  = ERREUR LECTURE\r\n");
  }

  // Machine à états de régulation thermique avec une hystérésis [24°C - 26°C]
  // Logique asymétrique : action unique lors de l'entrée dans CHAUD ou FROID,
  // aucune action au retour en zone TEMPEREE
  // cf rapport : Scénario 6 – 12.1. Seuils et états de température & Scénario 6 – 12.2. Logique de décision de la fenêtre
  switch(temperature)
  {
    case CHAUD:
      // Sortie de l'état CHAUD : la température repasse sous 26°C
      if (temperature_valeur < SEUIL_CHALEUR)
      {
        temperature = TEMPEREE; // Retour neutre, l'utilisateur ou la météo reprend la main
        break;
      }
      else
      {
        break;
      }

    case FROID:
      // Sortie de l'état FROID : la température repasse au-dessus de 24°C
      if (temperature_valeur > SEUIL_FROID)
      {
        temperature = TEMPEREE; // Retour neutre, aucune modification forcée de la fenêtre
        break;
      }
      else
      {
        break;
      }

    case TEMPEREE:
      // Transition vers CHAUD : dépassement du seuil de chaleur (>= 26°C)
      if (temperature_valeur >= SEUIL_CHALEUR && temperature != CHAUD)
      {
        temperature = CHAUD;
        // Protection : en cas de pluie ou si le mode est AWAY, on ne touche à rien.
        if (mode == HOME && !pluie_detectee) {
          fenetre = OUVERTE; // On ouvre la fenêtre pour aérer la maison
        }
        break;
      }
      // Transition vers FROID : chute sous le seuil de froid (<= 24°C)
      else if (temperature_valeur <= SEUIL_FROID && temperature != FROID)
      {
        temperature = FROID;
        // Protection : en cas de pluie ou si le mode est AWAY, on ne touche à rien.
        if (mode == HOME && !pluie_detectee) {
          fenetre = FERMEE; // On ferme la fenêtre pour se protéger du froid
        }
        break;
      }
      else
      {
        break;
      }
  }
}

/**
 * @brief  Filtre anti-rebond logiciel non bloquant pour les boutons poussoirs (MODE/HOME et Fenêtre).
 *         Appelé périodiquement toutes les 50 ms par le Timer 5. Confirme l'appui uniquement
 *         si le signal est maintenu à l'état bas après la temporisation de rebond mécanique.
 *          // cf rapport : Scénario 2 – 2. Gestion de l'anti-rebond & Scénario 5 – 3.1. Implémentation et anti-rebond
 * @param  None
 * @return None
 */
void debounce_filter()
{
  // Bouton HOME (PA6 / D12) : configuré avec pull-up interne (actif à 0 V)
  // L'interruption EXTI6 a levé debouncing_bouton_home et remis TIM5 à 0 il y a 50 ms
  // cf rapport : Scénario 2 – 2.4. Détection d'appui
	if (debouncing_bouton_home && !HAL_GPIO_ReadPin(BTN_HOME_GPIO_Port, BTN_HOME_Pin)) {
		debouncing_bouton_home = false; // Réarmement du verrou anti-rebond
		bouton_home_appuye = true;      // Validation de l'appui pour la gestion du mode HOME
	}

  // Bouton Fenêtre (PA10 / D2) : configuré avec pull-up interne (actif à 0 V)
  // Même logique d'évaluation 50 ms après le front descendant initial
  // cf rapport : Scénario 5 – 3.1. Implémentation et anti-rebond
	if (debouncing_bouton_fenetre && !HAL_GPIO_ReadPin(BTN_FENTR_GPIO_Port, BTN_FENTR_Pin)) {
		debouncing_bouton_fenetre = false;// Réarmement du verrou anti-rebond
		bouton_fenetre_appuye = true;     // Validation de l'appui pour la gestion de la fenêtre
	}
}

/**
 * @brief  Module de clignotement asynchrone non bloquant des voyants lumineux d'alarmes (LEDs).
 *         Évalue un compteur de tics partagé cadencé à 20 Hz par le Timer 5 pour faire clignoter
 *         la LED gaz à 10 Hz et la LED intrusion à 2 Hz par division de fréquence entière.
 *          // cf rapport : Scénario 8 – 1. Clignotement non bloquant par compteur partagé
 * @param  None
 * @return None
 */
void update_cycle_alarmes_leds()
{
  // Si aucune alarme n'est en cours, extinction immédiate des deux voyants
  if (!alarme_gaz && !alarme_intrusion) {
    led_alarme_intrusion.state = false;
    led_alarme_gaz.state = false;
    return;
  }

  // Gestion du clignotement de l'alarme Gaz (10 Hz souhaité)
  // Horloge de base = 20 Hz (période = 50 ms). Demi-période = 20 / (2 * 10) = 1 tic.
  // La LED bascule d'état logique à chaque tic de 50 ms (50 ms ON, 50 ms OFF => Période = 100 ms => 10 Hz)
  // cf rapport : Scénario 8 – 1. Clignotement non bloquant par compteur partagé
  if (alarme_gaz) {
    int demi_periode_gaz = FREQ_CYCLE_ALARME / (2 * FREQ_BLINK_ALARME_GAZ);
    if (blink_counter_alarm % demi_periode_gaz == 0) {
      led_alarme_gaz.state = !led_alarme_gaz.state;
    }
  } else {
    led_alarme_gaz.state = false;
  }

  // Gestion du clignotement de l'alarme Intrusion (2 Hz souhaité)
  // Horloge de base = 20 Hz. Demi-période = 20 / (2 * 2) = 5 tics.
  // La LED bascule d'état tous les 5 tics de 50 ms, soit 250 ms ON, 250 ms OFF => Période = 500 ms => 2 Hz
  // cf rapport : Scénario 8 – 1. Clignotement non bloquant par compteur partagé
  if (alarme_intrusion) {
    int demi_periode_intrusion = FREQ_CYCLE_ALARME / (2 * FREQ_BLINK_ALARME_INTRUSION);
    if (blink_counter_alarm % demi_periode_intrusion == 0) {
      led_alarme_intrusion.state = !led_alarme_intrusion.state;
    }
  } else {
    led_alarme_intrusion.state = false;
  }
}

/**
 * @brief  Module de commande non bloquant du buzzer selon les alarmes en cours.
 *         Génère les fréquences distinctes (440 Hz pour le gaz, 384 Hz pour l'intrusion) et
 *         gère l'alternance temporelle par tranches de 250 ms en cas de double alarme simultanée.
 *         // cf rapport : Scénario 8 – 2. Gestion du buzzer avec fréquences distinctes & Scénario 8 – 3. Cas simultané : alternance gaz / intrusion
 * @param  None
 * @return None
 */
void update_cycle_alarmes_buzzer()
{
  // Silencieux immédiat si aucune condition d'alerte n'est remplie
  if (!alarme_gaz && !alarme_intrusion) {
    buzzer = false;
    return;
  }

  // Cas 1 : Alarme Gaz seule
  // Note de 440 Hz (La4), hachée en synchronisation parfaite avec la LED rouge (10 Hz)
  // cf rapport : Scénario 8 – 2.3. Fréquences distinctes pour chaque alarme
  if (alarme_gaz && !alarme_intrusion) {
    frequence_buzzer(FREQ_BUZZER_ALARME_GAZ);
    buzzer = led_alarme_gaz.state; // Le buzzer retentit quand la LED s'allume
  }
  // Cas 2 : Alarme Intrusion seule
  // Note de 384 Hz (plus grave), hachée en synchronisation avec la LED jaune (2 Hz)
  // cf rapport : Scénario 8 – 2.3. Fréquences distinctes pour chaque alarme
  else if (!alarme_gaz && alarme_intrusion) {
    frequence_buzzer(FREQ_BUZZER_ALARME_INTRUSION);
    buzzer = led_alarme_intrusion.state; // Le buzzer retentit quand la LED s'allume
  }
  // Cas 3 : Alarme Gaz ET Alarme Intrusion simultanées
  // Le buzzer ne pouvant jouer qu'une note à la fois, le système alterne cycliquement toutes les 250 ms :
  // Période complète du motif = 20 Hz / 2 Hz = 10 tics (500 ms)
  // Phase 1 (tics 0 à 4 = 250 ms) : Son Intrusion continu à 384 Hz
  // Phase 2 (tics 5 à 9 = 250 ms) : Son Gaz à 440 Hz suivant le clignotement rapide de la LED rouge
  // cf rapport : Scénario 8 – 3. Cas simultané : alternance gaz / intrusion
  else if (alarme_gaz && alarme_intrusion) {
    int full_period_alternance = FREQ_CYCLE_ALARME / FREQ_BLINK_ALARME_INTRUSION;
    int half_period_alternance = full_period_alternance / 2;
    int phase_actuelle = blink_counter_alarm % full_period_alternance;

    if (phase_actuelle < half_period_alternance) {
      // Phase 1 (0 à 250 ms) : Signature sonore Intrusion
      frequence_buzzer(FREQ_BUZZER_ALARME_INTRUSION);
      buzzer = true; // Émission acoustique continue pendant le créneau
    } else {
      // Phase 2 (250 à 500 ms) : Signature sonore Gaz
      frequence_buzzer(FREQ_BUZZER_ALARME_GAZ);
      buzzer = led_alarme_gaz.state; // Modulation rapide synchronisée sur la LED gaz
    }
  }
}

/**
 * @brief  Fonction unique à appeler en boucle pour l'animation cyclique des alarmes.
 *         Incrémente le compteur de base de temps partagé (cadencé à 20 Hz par le Timer 5)
 *         et appelle les fonctions qui gèrent le clignotement des LEDs et du Buzzer.
 *         // cf rapport : Scénario 8 – Gestion globale des alarmes
 * @param  None
 * @return None
 */
void update_cycle_alarmes()
{
  // Réinitialisation du compteur lors du retour au calme pour démarrer le prochain cycle en phase 0
  if (!alarme_gaz && !alarme_intrusion) {
    blink_counter_alarm = 0;
  } else {
    blink_counter_alarm++;
  }

  // Actualisation des clignotements lumineux et sonores
  update_cycle_alarmes_leds();
  update_cycle_alarmes_buzzer();
}

/* USER CODE END 0 */

int main(void)
{

  /* MCU Configuration--------------------------------------------------------*/

  /* Reset of all peripherals, Initializes the Flash interface and the Systick. */
  HAL_Init();

  /* Configure the system clock */
  SystemClock_Config();

  /* Initialize all configured peripherals */
  MX_GPIO_Init();
  MX_DMA_Init();
  MX_TIM2_Init();
  MX_TIM3_Init();
  MX_TIM5_Init();
  MX_ADC1_Init();
  MX_USART2_UART_Init();
  MX_TIM1_Init();
  MX_I2C3_Init();
  MX_TIM4_Init();
  /* USER CODE BEGIN 2 */

  // Démarrage des bases temporelles en interruption :
  // - TIMER_DEBOUNCE (TIM5) : cadence l'anti-rebond et les alarmes à 20 Hz (période = 50 ms)
  //   En mode base temporelle (_BASE) car simple comptage cyclique.
  //   En mode interruption (_IT) pour déclencher debounce_filter() et la mise à jour des alarmes.
  //   cf rapport : Scénario 2 – 2.1. Prescaler du Timer 5 & Scénario 2 – 2.2. Période du Timer 5
  HAL_TIM_Base_Start_IT(TIMER_DEBOUNCE);

  // - TIMER_CAPTEURS (TIM2) : cadence l'échantillonnage à 0.5 Hz (période = 2 s)
  //   En mode base temporelle (_BASE) car simple comptage cyclique.
  //   En mode interruption (_IT) pour déclencher le cycle des capteurs.
  //   Émet automatiquement un signal TRGO matériel à chaque update pour déclencher l'ADC
  //   cf rapport : Scénario 1 – 1. Configuration du Timer & Scénario 3 – 1. Déclenchement de l'ADC par le Timer 2
  HAL_TIM_Base_Start_IT(TIMER_CAPTEURS);

  // Démarrage des canaux PWM pour les actionneurs :
  // - TIMER_BUZZER (TIM3 CH2)
  //   En mode PWM (_PWM) pour générer l'onde carrée sur le buzzer passif.
  //   cf rapport : Scénario 8 – 2. Gestion du buzzer avec fréquences distinctes
  HAL_TIM_PWM_Start(TIMER_BUZZER, CANAL_BUZZER);

  // - TIMER_SERVO (TIM1 CH2) : PWM 50 Hz pour pilotage angulaire de la fenêtre
  //   En mode PWM (_PWM) pour générer le signal de commande angulaire du servo.
  //   cf rapport : Scénario 5 – 1.3. Configuration du Timer 1 dans CubeMX
  HAL_TIM_PWM_Start(TIMER_SERVO, CANAL_SERVO);

  // Démarrage de la chaîne d'acquisition analogique multi-canaux (Gaz + Pluie)
  // - ADC_CAPTEURS (ADC1)
  //   En mode DMA (_DMA) pour stocker les mesures acquises en mémoire.
  //   Utilise le Scan circulaire pour acquérir plusieurs canaux successivement.
  // En paramètres :
  //   - adc_valeurs : tableau de stockage des mesures
  //   - NBR_CAPTEURS_ADC : nombre de canaux à acquérir
  // cf rapport : Scénario 5 – 4.3. Configuration DMA
  HAL_ADC_Start_DMA(ADC_CAPTEURS, (uint32_t*)adc_valeurs, NBR_CAPTEURS_ADC);

  // Initialisation des bibliothèques utilisées
  // cf rapport : Scénario 6 – 6. Initialisation, Scénario 7 – 2. Intégration de la bibliothèque LCD I²C,
  //              Scénario 9 – 5. Initialisation
  initialiser_thermometre();
  initialiser_ecran();
  initialiser_bande_led();

  // Affichage des messages d'accueil et récapitulatif des paramètres système sur l'UART
  // cf rapport : Scénario 4 – 3. Message de bienvenue au démarrage
  printf("\r\n--- Demarrage Systeme STM32 ---\r\n\n");
  printf("Seuil gaz configure: %d\r\n", SEUIL_GAZ);
  printf("Seuil pluie configure: %d\r\n", SEUIL_PLUIE);
  printf("Frequence clignotement alarme gaz: %d Hz\r\n", FREQ_BLINK_ALARME_GAZ);
  printf("Frequence clignotement alarme intrusion: %d Hz\r\n", FREQ_BLINK_ALARME_INTRUSION);
  printf("Periode echantillonnage capteurs: %d s\r\n", (int)(1/FREQ_CYCLE_CAPTEURS));
  printf("Periode debounce bouton: %d ms\r\n", (int)(1000/FREQ_CYCLE_DEBOUNCE));
  printf("\r\n");

  /* USER CODE END 2 */

  /* Infinite loop */
  while (1)
  {

    /* USER CODE BEGIN 3 */

    // ==========================================================================
    // Machine à états principale : Modes de présence HOME et AWAY
    // cf rapport : Scénario 2 – 3. Machine à états HOME / AWAY & Scénario 2 – 5. Comportement selon le mode (AWAY vs HOME)
    // ==========================================================================
    switch(mode)
    {
      case HOME:
      {
        // --- Événement de transition HOME -> AWAY ---
        // L'utilisateur appuie sur le bouton HOME pour quitter la maison
        if (bouton_home_appuye)
        {
          bouton_home_appuye = false; // Acquittement du flag de bouton
          mode = AWAY; // Changement de mode vers AWAY
          fenetre = FERMEE; // Sécurité départ : fermeture systématique de la fenêtre
          printf("Je sors de la maison\r\n");
          afficher_mode_ecran(); // Actualisation immédiate du libellé LCD
        }
        else
        {
          // --- Actions continues en mode HOME (Présence normale) ---
          // On éteint l'alarme si jamais elle était armée
          alarme_intrusion = false;
          // Réinitialisation permanente des détections intrusion pour éviter
          // que l'alarme se déclenche sur la transition suite à un appui en mode HOME
          presence_detectee = false;

          // Priorité 1 fenêtre : La pluie maintient la fermeture
          // cf rapport : Scénario 5 – 5. Logique de décision de la fenêtre
          if (pluie_detectee)
          {
            fenetre = FERMEE;
            bouton_fenetre_appuye = false; // Ignore tout appui utilisateur pendant l'intempérie
          }
          else
          {
            // Priorité 2 : Commande manuelle de la fenêtre occasionnelle par bouton poussoir
            // cf rapport : Scénario 5 – 3.2. Comportement et priorités selon le mode (HOME vs AWAY)
            if (bouton_fenetre_appuye)
            {
              bouton_fenetre_appuye = false; // Acquittement du flag d'appui
              switch(fenetre)
              {
                // Si elle est ouverte, on la ferme
                case OUVERTE:
                {
                  fenetre = FERMEE;
                  printf("Je ferme la fenetre\r\n");
                  break;
                }
                // Si elle est fermée, on l'ouvre
                case FERMEE:
                {
                  fenetre = OUVERTE;
                  printf("J'ouvre la fenetre\r\n");
                  break;
                }
                // État initial utile uniquement pour la fonction commande_fenetre()
                // On a mis ça juste pour éviter les warnings du compilateur (switch incomplet)
                case INIT:
                  break;
              }
            }
          }
        }
        break;
      }

      case AWAY:
      {
        // --- Événement de transition AWAY -> HOME ---
        // L'utilisateur appuie sur le bouton HOME à son retour
        if (bouton_home_appuye)
        {
          bouton_home_appuye = false; // Acquittement du flag
          mode = HOME; // Changement de mode vers HOME
          printf("Je rentre à la maison\r\n");
          afficher_mode_ecran(); // Actualisation immédiate du libellé LCD
        }
        else
        {
          // --- Actions continues en mode AWAY ---
          // Verrouillage de la commande manuelle : les appuis fenêtre sont ignorés
          // cf rapport : Scénario 5 – 3.2. Comportement et priorités selon le mode (HOME vs AWAY)
          bouton_fenetre_appuye = false;

          // Surveillance active du détecteur de mouvement PIR
          // cf rapport : Scénario 2 – 5.3. Alarme intrusion
          if (presence_detectee)
          {
            alarme_intrusion = true;    // Armement et déclenchement de l'alarme intrusion
            presence_detectee = false;  // Acquittement du flag de détection de présence
            printf("Intrusion detectee !\r\n");
          }

          // N.B. L'alarme reste active tant qu'on ne rentre pas à la maison
        }
        break;
      }
    }

    // ==========================================================================
    // Traitement des tâches périodiques non bloquantes cadencées par interruptions
        // cf rapport : Architecture globale – 3.1. Boucle principale et gestion des interruptions
    // ==========================================================================

    // Tâche 1 : Base de temps 50 ms (TIM5) - Anti-rebond, modulation alarmes, NeoPixels
    // cf rapport : Scénario 2 – 2. Gestion de l'anti-rebond, Scénario 9 – 8.4. Mise à jour périodique,
    //              Scénario 8 – 1. Clignotement non bloquant par compteur partagé
    if (timer_debounce_flag) {
      timer_debounce_flag = false; // Acquittement du flag d'interruption
      debounce_filter();           // Évaluation de la stabilité des boutons (50 ms après front)
      update_cycle_alarmes();      // Cadencement du clignotement des LEDs et alternance buzzer
      commande_bande_led();          // Actualisation de l'état des NeoPixels en fonction des variables
    }

    // Tâche 2 : Base de temps 2 s (TIM2) - Déclenchement One-Shot capteur température
    // N.B. L'ADC est déclenché en arrière-plan par le signal matériel TRGO du TIM2
    // cf rapport : Scénario 1 – 2. Clignotement de la LED témoin & Scénario 6 – 9.2. Déclencher une mesure One-Shot
    if (timer_capteurs_flag) {
      timer_capteurs_flag = false; // Acquittement du flag d'interruption
      led_capteurs.state = !led_capteurs.state; // Clignotement témoin d'activité (LED bleue)
      if (!TMP102_start_measure(&thermometre)) {
        printf("Erreur lors du demarrage de la mesure TMP102 en mode One-Shot\r\n");
      }
    }

    // Tâche 3 : Fin de conversion ADC multi-canaux notifiée par le DMA (Gaz + Pluie)
    // cf rapport : Scénario 5 – 4.5. Lecture et évaluation des capteurs
    if (fin_mesure_ADC_flag) {
      fin_mesure_ADC_flag = false; // Acquittement du flag d'interruption
      evaluer_pluie(); // Mise à jour de la valeur du capteur et vérification du seuil de pluie
      evaluer_gaz();   // Mise à jour de la valeur du capteur et vérification du seuil de gaz
    }

    // Tâche 4 : Fin de conversion du thermomètre TMP102 prête (polling non bloquant ~10 ms après le lancement)
    // La température étant la dernière mesure disponible, l'afficheur LCD est rafraîchi ici
    // cf rapport : Scénario 6 – 9.3. Attendre la fin de la mesure & Scénario 7 – 3.3. Valeurs capteurs
    if (TMP102_is_measure_ready(&thermometre)) {
      evaluer_temperature();     // Mise à jour de la température et de l'état thermique de la maison
      printf("\r\n");            // Saut de ligne pour différencier les séries de 3 mesures successives
      afficher_capteurs_ecran(); // Rafraîchissement global synchronisé de l'écran LCD
    }

    // ==========================================================================
    // Pilotage des actionneurs physiques (fonctions non bloquantes)
    // ==========================================================================
    commande_buzzer();   // Actualisation de l'état ON/OFF du signal PWM sonore
    commande_led();      // Actualisation des broches GPIO des LEDs du shield
    commande_fenetre();  // Actualisation de la position PWM du servomoteur sur changement d'état
  }
  /* USER CODE END 3 */
}

void SystemClock_Config(void)
{
  RCC_OscInitTypeDef RCC_OscInitStruct = {0};
  RCC_ClkInitTypeDef RCC_ClkInitStruct = {0};

  /** Configure the main internal regulator output voltage
  */
  __HAL_RCC_PWR_CLK_ENABLE();
  __HAL_PWR_VOLTAGESCALING_CONFIG(PWR_REGULATOR_VOLTAGE_SCALE1);

  /** Initializes the RCC Oscillators according to the specified parameters
  * in the RCC_OscInitTypeDef structure.
  */
  RCC_OscInitStruct.OscillatorType = RCC_OSCILLATORTYPE_HSE;
  RCC_OscInitStruct.HSEState = RCC_HSE_ON;
  RCC_OscInitStruct.PLL.PLLState = RCC_PLL_ON;
  RCC_OscInitStruct.PLL.PLLSource = RCC_PLLSOURCE_HSE;
  RCC_OscInitStruct.PLL.PLLM = 4;
  RCC_OscInitStruct.PLL.PLLN = 100;
  RCC_OscInitStruct.PLL.PLLP = RCC_PLLP_DIV2;
  RCC_OscInitStruct.PLL.PLLQ = 4;
  if (HAL_RCC_OscConfig(&RCC_OscInitStruct) != HAL_OK)
  {
    Error_Handler();
  }

  /** Initializes the CPU, AHB and APB buses clocks
  */
  RCC_ClkInitStruct.ClockType = RCC_CLOCKTYPE_HCLK|RCC_CLOCKTYPE_SYSCLK
                              |RCC_CLOCKTYPE_PCLK1|RCC_CLOCKTYPE_PCLK2;
  RCC_ClkInitStruct.SYSCLKSource = RCC_SYSCLKSOURCE_PLLCLK;
  RCC_ClkInitStruct.AHBCLKDivider = RCC_SYSCLK_DIV1;
  RCC_ClkInitStruct.APB1CLKDivider = RCC_HCLK_DIV2;
  RCC_ClkInitStruct.APB2CLKDivider = RCC_HCLK_DIV1;

  if (HAL_RCC_ClockConfig(&RCC_ClkInitStruct, FLASH_LATENCY_3) != HAL_OK)
  {
    Error_Handler();
  }
}

/* USER CODE BEGIN 4 */

/**
 * @brief  Redirige le flux de sortie standard C (utilisé par printf) vers l'USART2.
 *         Permet l'envoi caractère par caractère vers l'interface ST-LINK branchée au PC.
 *         //  cf rapport : Scénario 4 – 2. Redirection de printf vers l'UART
 * @param  ch Caractère ASCII à transmettre.
 * @return int Caractère émis ou EOF en cas d'erreur (non utilisé)
 */
int __io_putchar(int ch)
{
    // Émission synchrone bloquante de 1 octet sur USART2 avec timeout maximal
    // cf rapport : Scénario 4 – 2. Redirection de printf vers l'UART
    HAL_UART_Transmit(&huart2, (uint8_t *)&ch, 1, HAL_MAX_DELAY);
    return ch;
}

/**
 * @brief  Callback appelée par la routine d'interruption pour les interruptions externes sur broches GPIO (EXTI).
 *         Capture les événements asynchrones en temps réel.
 *         cf rapport : Scénario 2 – 2.3. Routine d'interruption du GPIO et du Timer,
 *                      Scénario 2 – 4.2. Lecture du capteur PIR, Scénario 5 – 3.1. Implémentation et anti-rebond
 * @param  GPIO_Pin Numéro du pin GPIO ayant déclenché l'interruption.
 * @return None
 */
void HAL_GPIO_EXTI_Callback(uint16_t GPIO_Pin)
{
  // 1. Détection de mouvement par le capteur PIR (broche PC7 / EXTI 7)
  // Signal actif sur front montant avec pulldown interne
  // cf rapport : Scénario 2 – 4.2. Lecture du capteur PIR
  if (GPIO_Pin == PIR_MVMT_Pin)
  {
    presence_detectee = true; // Activation du flag de détection de présence
  }

  // 2. Appui sur le bouton HOME (broche PA6 / EXTI 6)
  // Déclenché sur front descendant (pull-up interne, passage de 1 à 0)
  // cf rapport : Scénario 2 – 2.3. Routine d'interruption du GPIO et du Timer
  if (GPIO_Pin == BTN_HOME_Pin)
  {
    if (!debouncing_bouton_home) {
      debouncing_bouton_home = true; // Active la détection d'appui pour le bouton HOME
      // Amorce le délai anti-rebond de 50 ms en réinitialisant le compteur de TIM5 à zéro
      __HAL_TIM_SET_COUNTER(TIMER_DEBOUNCE, 0);
    }
  }

  // 3. Appui sur le bouton FENÊTRE (broche PA10 / EXTI 10)
  // Déclenché sur front descendant (pull-up interne)
  // cf rapport : Scénario 5 – 3.1. Implémentation et anti-rebond
  if (GPIO_Pin == BTN_FENTR_Pin)
  {
    if (!debouncing_bouton_fenetre) {
      debouncing_bouton_fenetre = true; // Active la détection d'appui pour le bouton FENÊTRE
      // Amorce le délai anti-rebond de 50 ms en réinitialisant le compteur de TIM5 à zéro
      __HAL_TIM_SET_COUNTER(TIMER_DEBOUNCE, 0);
    }
  }
}

/**
 * @brief  Callback déclenchée à l'atteinte de la période de n'importe quel timer démarré en interruption.
 *         Lève les drapeaux logiciels asynchrones correspondants afin de déporter les traitements
 *         dans la boucle principale.
 *         // cf rapport : Architecture globale – 3.1. Boucle principale et gestion des interruptions, Scénario 1 – 1. Configuration du Timer, Scénario 2 – 2.1. Prescaler du Timer 5
 * @param  htim Pointeur vers la structure du timer ayant généré l'interruption.
 * @return None
 */
void HAL_TIM_PeriodElapsedCallback(TIM_HandleTypeDef *htim)
{
  // Timer d'anti-rebond et de clignotement des alarmes (TIM5, 20 Hz / 50 ms)
  // cf rapport : Scénario 2 – 2.3. Routine d'interruption du GPIO et du Timer
  //             Scénario 8 – 1. Clignotement non bloquant par compteur partagé
  if (htim == TIMER_DEBOUNCE)
  {
    timer_debounce_flag = true; // Activation du flag du timer d'anti-rebond
  }

  // Timer d'échantillonnage (TIM2, 0.5 Hz / 2 s)
  // cf rapport : Scénario 1 – 1. Configuration du Timer
  if (htim == TIMER_CAPTEURS)
  {
    timer_capteurs_flag = true; // Activation du flag du timer d'échantillonnage
  }
}

/**
 * @brief  Callback appelée par le contrôleur DMA à la fin de chaque cycle de conversion ADC.
 *         Confirme que les mesures des canaux Gaz (Rank 1) et Pluie (Rank 2)
 *         ont été transférées dans le buffer en mémoire.
 *         //  cf rapport : Scénario 5 – 4.4. Interruptions ADC et DMA activées
 * @param  hadc Pointeur vers la structure du convertisseur ADC (ADC_CAPTEURS / hadc1).
 * @return None
 */
void HAL_ADC_ConvCpltCallback(ADC_HandleTypeDef* hadc)
{
    if (hadc == ADC_CAPTEURS)
    {
        // cf rapport : Scénario 3 – 2. Lecture de la valeur ADC au Scénario 3 et problème rencontré & Scénario 5 – 4.4. Interruptions ADC et DMA activées
        fin_mesure_ADC_flag = true; // Activation du flag de fin de mesure ADC
    }
}
/* USER CODE END 4 */

void Error_Handler(void)
{
  __disable_irq();
  while (1)
  {
  }
}
